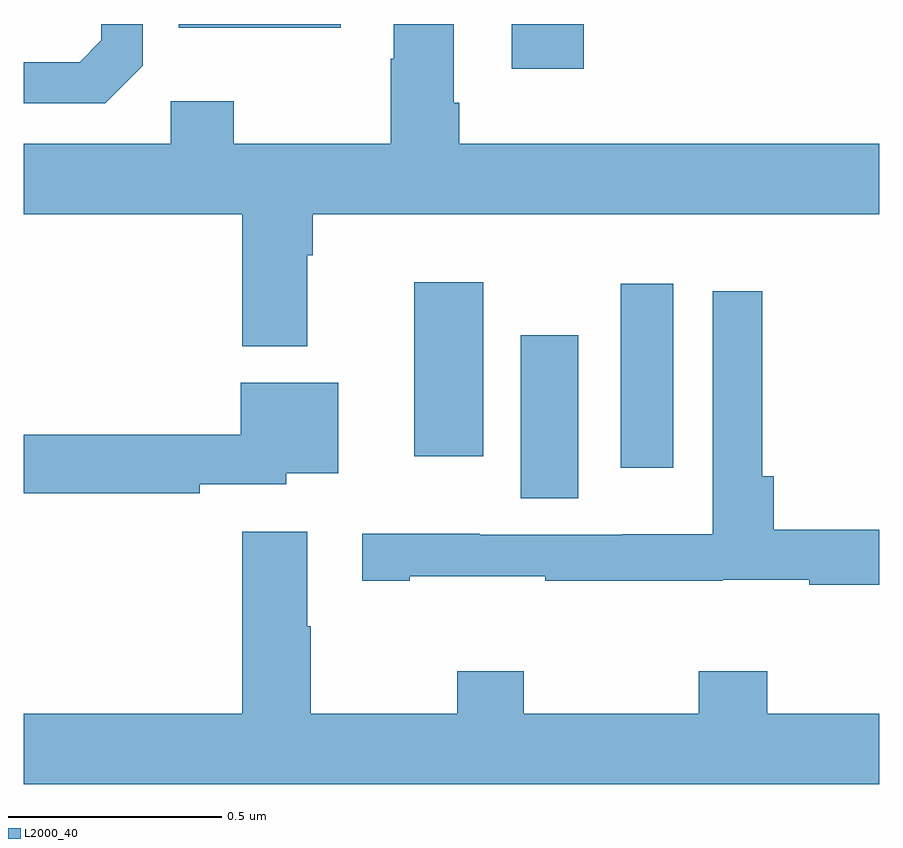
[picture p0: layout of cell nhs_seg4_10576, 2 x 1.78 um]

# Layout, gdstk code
import gdstk
lib = gdstk.Library(unit=1e-6, precision=1e-09)
def R(c, l, rs):  # rectangles x0, y0, x1, y1
    for r in rs: c.add(gdstk.rectangle(r[:2], r[2:], *l))
def P(c, l, *ps):  # polygons
    for p in ps: c.add(gdstk.Polygon(p, *l))
L2000_40 = (2000, 40)

nhs_seg4_10576 = lib.new_cell('nhs_seg4_10576')
R(nhs_seg4_10576, L2000_40, [(242.162,826.792,242.296,827.173), (242.396,826.863,242.518,827.293), (241.913,826.89,242.074,827.296), (242.141,827.796,242.309,827.9), (241.363,827.891,241.741,827.9)])
P(nhs_seg4_10576, L2000_40, [(241.278,827.802),(241.278,827.9),(241.182,827.9),(241.182,827.862),(241.131,827.811),(241,827.811),(241,827.715),(241.191,827.715)],
  [(242.005,827.716),(242.005,827.9),(241.865,827.9),(241.865,827.819),(241.858,827.819),(241.858,827.62),(241.491,827.62),(241.491,827.719),(241.344,827.719),(241.344,827.62),(241,827.62),(241,827.456),(241.511,827.456),(241.511,827.147),(241.663,827.147),(241.663,827.36),(241.676,827.36),(241.676,827.456),(243,827.456),(243,827.62),(242.018,827.62),(242.018,827.716)],
  [(243,826.718),(242.753,826.718),(242.753,826.843),(242.726,826.843),(242.726,827.275),(242.61,827.275),(242.61,826.708),(242.4,826.708),(242.4,826.707),(242.066,826.707),(242.066,826.709),(241.791,826.709),(241.791,826.599),(241.903,826.599),(241.903,826.609),(242.219,826.609),(242.219,826.599),(242.634,826.599),(242.634,826.601),(242.836,826.601),(242.836,826.59),(243,826.59)],
  [(241.412,826.824),(241.614,826.824),(241.614,826.85),(241.735,826.85),(241.735,827.062),(241.508,827.062),(241.508,826.94),(241,826.94),(241,826.804),(241.412,826.804)],
  [(243,826.288),(242.738,826.288),(242.738,826.387),(242.578,826.387),(242.578,826.288),(242.169,826.288),(242.169,826.387),(242.014,826.387),(242.014,826.288),(241.671,826.288),(241.671,826.493),(241.663,826.493),(241.663,826.714),(241.511,826.714),(241.511,826.288),(241,826.288),(241,826.124),(243,826.124)])

lib.write_gds('nhs_seg4_10576.gds')
